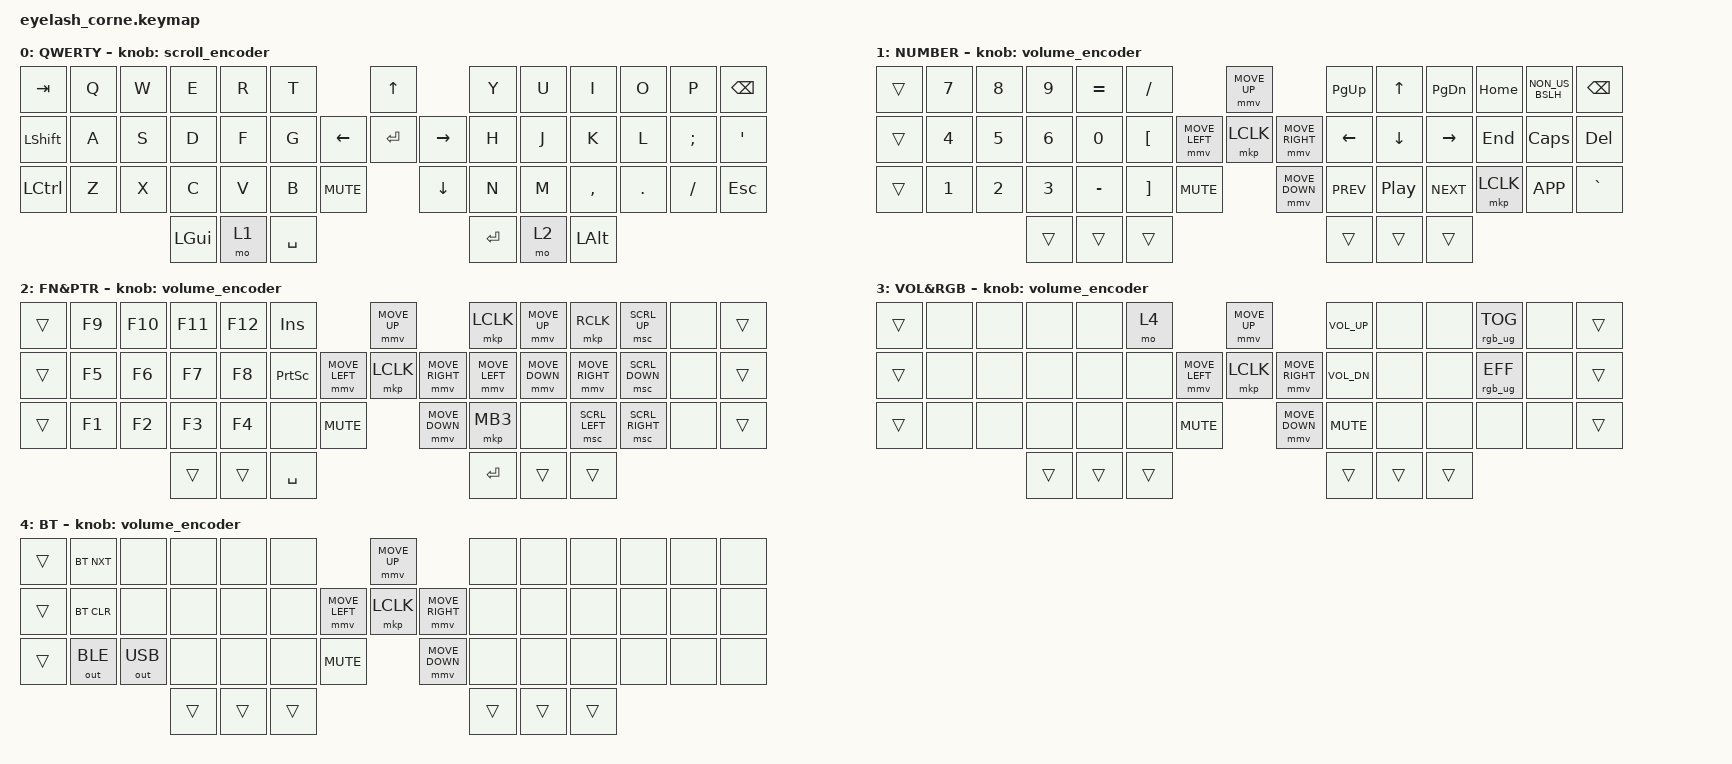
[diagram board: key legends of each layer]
#define ZMK_POINTING_DEFAULT_MOVE_VAL 1200
#define ZMK_POINTING_DEFAULT_SCRL_VAL 25

#include <input/processors.dtsi>
#include <zephyr/dt-bindings/input/input-event-codes.h>
#include <behaviors.dtsi>
#include <dt-bindings/zmk/bt.h>
#include <dt-bindings/zmk/keys.h>
#include <dt-bindings/zmk/outputs.h>
#include <dt-bindings/zmk/pointing.h>
#include <dt-bindings/zmk/rgb.h>

&mmv_input_listener { input-processors = <&zip_xy_scaler 2 1>; };

&msc_input_listener { input-processors = <&zip_scroll_scaler 2 1>; };

&msc {
    acceleration-exponent = <1>;
    time-to-max-speed-ms = <100>;
    delay-ms = <0>;
};

&mmv {
    time-to-max-speed-ms = <500>;
    acceleration-exponent = <1>;
    trigger-period-ms = <16>;
};

&soft_off { hold-time-ms = <2000>; };

/ {
    behaviors {
        td0: td0 {
            compatible = "zmk,behavior-tap-dance";
            display-name = "Shift/Caps Lock Tap Dance";
            #binding-cells = <0>;
            bindings = <&kp LSHFT>, <&kp CAPS>;
        };
    };

    rgb_encoder: rgb_encoder {
        compatible = "zmk,behavior-sensor-rotate";
        #sensor-binding-cells = <0>;
        bindings = <&rgb_ug RGB_BRI>, <&rgb_ug RGB_BRD>;
    };

    scroll_encoder: scroll_encoder {
        compatible = "zmk,behavior-sensor-rotate";
        #sensor-binding-cells = <0>;
        bindings = <&msc SCRL_DOWN>, <&msc SCRL_UP>;

        tap-ms = <100>;
    };

    volume_encoder: volume_encoder {
        compatible = "zmk,behavior-sensor-rotate";
        #sensor-binding-cells = <0>;
        bindings = <&kp C_VOL_UP>, <&kp C_VOL_DN>;
    };

    combos {
        compatible = "zmk,combos";

        softoff {
            bindings = <&soft_off>;
            key-positions = <1 15 29>;
        };
    };

    keymap {
        compatible = "zmk,keymap";

        default_layer {
            display-name = "QWERTY";
            // -----------------------------------------------------------------------------------------------------------
            // |  TAB |  Q  |  W  |  E  |  R  |  T  |sup    |           |up  |     |  Y  |  U   |  I  |  O  |  P  | BKSP |
            // | SHFT |  A  |  S  |  D  |  F  |  G  |sdn    |     |left|enter|right|  H  |  J   |  K  |  L  |  ;  |  '   | 
            // | CTRL |  Z  |  X  |  C  |  V  |  B  |C_MUTE |          |down |     |  N  |  M   |  ,  |  .  |  /  | ESC  |
            //                    | GUI | LWR | SPC |                             | ENT | RSE  | ALT |
            bindings = <
&kp TAB    &kp Q  &kp W  &kp E     &kp R  &kp T                              &kp UP                &kp Y      &kp U  &kp I      &kp O    &kp P     &kp BSPC
&kp LSHFT  &kp A  &kp S  &kp D     &kp F  &kp G                    &kp LEFT  &kp ENTER  &kp RIGHT  &kp H      &kp J  &kp K      &kp L    &kp SEMI  &kp SQT
&kp LCTRL  &kp Z  &kp X  &kp C     &kp V  &kp B      &kp C_MUTE              &kp DOWN              &kp N      &kp M  &kp COMMA  &kp DOT  &kp FSLH  &kp ESC
                         &kp LGUI  &mo 1  &kp SPACE                                                &kp ENTER  &mo 2  &kp LALT
            >;

            sensor-bindings = <&scroll_encoder>;
        };

        lower_layer {
            display-name = "NUMBER";
            // ------------------------------------------------------------------------------------------------------------
            // | TAB  | 7 | 8 | 9 | = | / |C_VOLUME_UP|           |M_UP|        | PG_UP|  UP | PG_DOWN | HOME |  \   | BKSP|
            // | SHFT | 4 | 5 | 6 | 0 | [ |C_VOLUME_DOWN|  |M_LEFT|LCLK|M_RIGHT | LEFT | DWN |  RIGHT  | END  | CAPS | DEL |
            // | CTRL | 1 | 2 | 3 | - | ] |C_MUTE|                |M_DOWN|      | PREV | P_P |  NEXT   | LCLK | MENU |  `  |
            //          | GUI | LWR | SPC |                                     | ENT | RSE | ALT |
            bindings = <
&trans  &kp N7  &kp N8  &kp N9  &kp EQUAL  &kp SLASH                                &mmv MOVE_UP                     &kp PG_UP   &kp UP    &kp PG_DN   &kp HOME   &kp NON_US_BSLH  &kp BSPC
&trans  &kp N4  &kp N5  &kp N6  &kp N0     &kp LBKT                 &mmv MOVE_LEFT  &mkp LCLK       &mmv MOVE_RIGHT  &kp LEFT    &kp DOWN  &kp RIGHT   &kp END    &kp CAPS         &kp DEL
&trans  &kp N1  &kp N2  &kp N3  &kp MINUS  &kp RBKT   &kp C_MUTE                    &mmv MOVE_DOWN                   &kp C_PREV  &kp C_PP  &kp C_NEXT  &mkp LCLK  &kp K_APP        &kp GRAVE
                        &trans  &trans     &trans                                                                    &trans      &trans    &trans
            >;

            sensor-bindings = <&volume_encoder>;
        };

        raise_layer {
            display-name = "FN&PTR";
            // ------------------------------------------------------------------------------------------------------------
            // |  TAB  | F9 | F10 | F11 | F12 | INS  |C_VOLUME_UP|           |M_UP|        |lck |mup |rck |sup |  | BKSPC |
            // | SHIFT | F5 | F6  | F7  | F8  | PRSC |C_VOLUME_DOWN|  |M_LEFT|LCLK|M_RIGHT |mlf |mdn |mrt |sdn |  |   '   |
            // | CTRL  | F1 | F2  | F3  | F4  |      |C_MUTE|                |M_DOWN|      |    |    |slf |srt |  |  ESC  |
            //                        |LGUI|LWE|SPACE|                                     |ENTER|RSE|RALT|
            bindings = <
&trans  &kp F9  &kp F10  &kp F11  &kp F12  &kp INS                                  &mmv MOVE_UP                     &mkp LCLK       &mmv MOVE_UP    &mkp RCLK        &msc SCRL_UP     &none  &trans
&trans  &kp F5  &kp F6   &kp F7   &kp F8   &kp PSCRN                &mmv MOVE_LEFT  &mkp LCLK       &mmv MOVE_RIGHT  &mmv MOVE_LEFT  &mmv MOVE_DOWN  &mmv MOVE_RIGHT  &msc SCRL_DOWN   &none  &trans
&trans  &kp F1  &kp F2   &kp F3   &kp F4   &none      &kp C_MUTE                    &mmv MOVE_DOWN                   &mkp MB3        &none           &msc SCRL_LEFT   &msc SCRL_RIGHT  &none  &trans
                         &trans   &trans   &kp SPACE                                                                 &kp RET         &trans          &trans
            >;

            sensor-bindings = <&volume_encoder>;
        };

        layer_3 {
            display-name = "VOL&RGB";
            // -----------------------------------------------------------------------------------------------------------------
            // |  TAB  | | | | | layer 4 toggle|C_VOLUME_UP|           |M_UP|            | C_VOLUME_UP  | | | BL_TOG | | BKSPC |
            // | SHIFT | | | | |               |C_VOLUME_DOWN|  |M_LEFT|LCLK|M_RIGHT     | C_VOLUME_DOWN| | |RGB_EFF | |   '   |
            // | CTRL  | | | | |               |C_MUTE|                |M_DOWN|          | C_MUTE       | | |        | |  ESC  |
            //        |LGUI|LWE|    SPACE      |                                         |ENTER|RSE|LALT|
            bindings = <
&trans  &none  &none  &none   &none   &mo 4                                 &mmv MOVE_UP                     &kp C_VOL_UP  &none   &none   &rgb_ug RGB_TOG  &none  &trans
&trans  &none  &none  &none   &none   &none                 &mmv MOVE_LEFT  &mkp LCLK       &mmv MOVE_RIGHT  &kp C_VOL_DN  &none   &none   &rgb_ug RGB_EFF  &none  &trans
&trans  &none  &none  &none   &none   &none   &kp C_MUTE                    &mmv MOVE_DOWN                   &kp C_MUTE    &none   &none   &none            &none  &trans
                      &trans  &trans  &trans                                                                 &trans        &trans  &trans
            >;

            sensor-bindings = <&volume_encoder>;
        };

        layer_4 {
            display-name = "BT";
            // -----------------------------------------------------------------------------------------
            // |  TAB  |  BT_NXT   |     | | | |C_VOLUME_UP|           |M_UP|        | | | | | | BKSPC |
            // | SHIFT | BT_CLR_ALL|     | | | |C_VOLUME_DOWN|  |M_LEFT|LCLK|M_RIGHT | | | | | |   '   |
            // | CTRL  | BT_OUT    | USB | | | |C_MUTE|                |M_DOWN|      | | | | | |  ESC  |
            //                  |LGUI|LWE|SPACE|                                     |ENTER|RSE|LALT|
            bindings = <
&trans  &bt BT_NXT    &none         &none   &none   &none                                 &mmv MOVE_UP                     &none   &none   &none   &none  &none  &none
&trans  &bt BT_CLR    &none         &none   &none   &none                 &mmv MOVE_LEFT  &mkp LCLK       &mmv MOVE_RIGHT  &none   &none   &none   &none  &none  &none
&trans  &out OUT_BLE  &out OUT_USB  &none   &none   &none   &kp C_MUTE                    &mmv MOVE_DOWN                   &none   &none   &none   &none  &none  &none
                                    &trans  &trans  &trans                                                                 &trans  &trans  &trans
            >;

            sensor-bindings = <&volume_encoder>;
        };
    };

    conditional_layers {
        compatible = "zmk,conditional-layers";

        layer {
            if-layers = <1 2>;
            then-layer = <3>;
        };
    };
};
